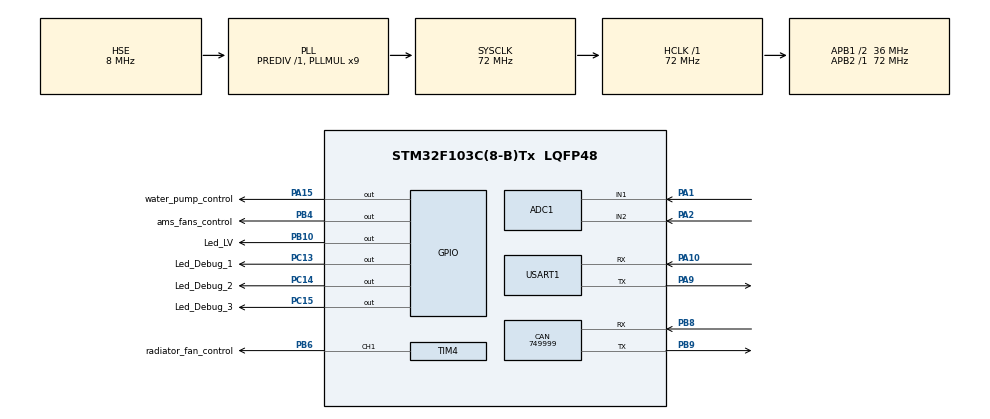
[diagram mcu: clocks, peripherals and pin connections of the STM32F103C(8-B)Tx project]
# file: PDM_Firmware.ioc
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ADC1.Channel-0\#ChannelRegularConversion=ADC_CHANNEL_1
ADC1.Channel-1\#ChannelRegularConversion=ADC_CHANNEL_2
ADC1.ContinuousConvMode=DISABLE
ADC1.NbrOfConversion=2
ADC1.NbrOfConversionFlag=1
ADC1.Rank-0\#ChannelRegularConversion=1
ADC1.Rank-1\#ChannelRegularConversion=2
ADC1.SamplingTime-0\#ChannelRegularConversion=ADC_SAMPLETIME_239CYCLES_5
ADC1.SamplingTime-1\#ChannelRegularConversion=ADC_SAMPLETIME_239CYCLES_5
ADC1.master=1
CAN.CalculateBaudRate=749999
CAN.CalculateTimeBit=1333
CAN.CalculateTimeQuantum=444.44444444444446
Dma.ADC1.0.Direction=DMA_PERIPH_TO_MEMORY
Dma.ADC1.0.Instance=DMA1_Channel1
Dma.ADC1.0.MemDataAlignment=DMA_MDATAALIGN_HALFWORD
Dma.ADC1.0.MemInc=DMA_MINC_ENABLE
Dma.ADC1.0.Mode=DMA_CIRCULAR
Dma.ADC1.0.PeriphDataAlignment=DMA_PDATAALIGN_HALFWORD
Dma.ADC1.0.PeriphInc=DMA_PINC_DISABLE
Dma.ADC1.0.Priority=DMA_PRIORITY_LOW
Dma.Request0=ADC1
Mcu.Family=STM32F1
Mcu.Name=STM32F103C(8-B)Tx
Mcu.Package=LQFP48
NVIC.ADC1_2_IRQn=true\:1\:0\:true\:false\:true\:true\:true\:true
NVIC.DMA1_Channel1_IRQn=true\:0\:0\:false\:false\:true\:false\:true\:true
NVIC.PriorityGroup=NVIC_PRIORITYGROUP_4
NVIC.TIM3_IRQn=true\:0\:0\:false\:false\:true\:true\:true\:true
PA1.Signal=ADCx_IN1
PA10.Mode=Asynchronous
PA10.Signal=USART1_RX
PA13.Mode=Serial_Wire
PA13.Signal=SYS_JTMS-SWDIO
PA14.Mode=Serial_Wire
PA14.Signal=SYS_JTCK-SWCLK
PA15.GPIO_Label=water_pump_control
PA15.Signal=GPIO_Output
PA2.Signal=ADCx_IN2
PA9.Mode=Asynchronous
PA9.Signal=USART1_TX
PB10.GPIO_Label=Led_LV
PB10.Signal=GPIO_Output
PB4.GPIO_Label=ams_fans_control
PB4.Signal=GPIO_Output
PB6.GPIO_Label=radiator_fan_control
PB6.Signal=S_TIM4_CH1
PB8.Mode=CAN_Activate
PB8.Signal=CAN_RX
PB9.Mode=CAN_Activate
PB9.Signal=CAN_TX
PC13-TAMPER-RTC.GPIO_Label=Led_Debug_1
PC13-TAMPER-RTC.Signal=GPIO_Output
PC14-OSC32_IN.GPIO_Label=Led_Debug_2
PC14-OSC32_IN.Signal=GPIO_Output
PC15-OSC32_OUT.GPIO_Label=Led_Debug_3
PC15-OSC32_OUT.Signal=GPIO_Output
PD0-OSC_IN.Mode=HSE-External-Oscillator
PD0-OSC_IN.Signal=RCC_OSC_IN
PD1-OSC_OUT.Mode=HSE-External-Oscillator
PD1-OSC_OUT.Signal=RCC_OSC_OUT
ProjectManager.HeapSize=0x200
ProjectManager.StackSize=0x400
ProjectManager.TargetToolchain=CMake
RCC.ADCPresc=RCC_ADCPCLK2_DIV6
RCC.AHBFreq_Value=72000000
RCC.APB1CLKDivider=RCC_HCLK_DIV2
RCC.APB1Freq_Value=36000000
RCC.APB1TimFreq_Value=72000000
RCC.APB2Freq_Value=72000000
RCC.APB2TimFreq_Value=72000000
RCC.HCLKFreq_Value=72000000
RCC.PLLMUL=RCC_PLL_MUL9
RCC.PLLSourceVirtual=RCC_PLLSOURCE_HSE
RCC.SYSCLKFreq_VALUE=72000000
RCC.SYSCLKSource=RCC_SYSCLKSOURCE_PLLCLK
RCC.USBFreq_Value=72000000
SH.ADCx_IN1.0=ADC1_IN1,IN1
SH.ADCx_IN2.0=ADC1_IN2,IN2
SH.S_TIM4_CH1.0=TIM4_CH1,PWM Generation1 CH1
TIM3.Period=7200
TIM3.Prescaler=1000
TIM4.Channel-PWM\ Generation1\ CH1=TIM_CHANNEL_1
TIM4.Period=100-1
TIM4.Prescaler=72-1
USART1.VirtualMode=VM_ASYNC
VP_TIM3_VS_ClockSourceINT.Mode=Internal
board=custom

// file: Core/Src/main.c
/* USER CODE BEGIN Header */
/**
  ******************************************************************************
  * @file           : main.c
  * @brief          : Main program body
  ******************************************************************************
  * @attention
  *
  * Copyright (c) 2025 STMicroelectronics.
  * All rights reserved.
  *
  * This software is licensed under terms that can be found in the LICENSE file
  * in the root directory of this software component.
  * If no LICENSE file comes with this software, it is provided AS-IS.
  *
  ******************************************************************************
  */
/* USER CODE END Header */
#include "main.h"
#include "adc.h"
#include "can.h"
#include "dma.h"
#include "tim.h"
#include "usart.h"
#include "gpio.h"

/* USER CODE BEGIN Includes */
#include <stdio.h>
#include <string.h>
/* USER CODE END Includes */

/* USER CODE BEGIN PD */

#define BUFFER_SIZE 10 // Tamanho do buffer circular

/* USER CODE END PD */

/* USER CODE BEGIN PV */
uint16_t voltage_buffer[BUFFER_SIZE] = {0}; // Buffer circular para armazenar os valores de tensão
uint8_t buffer_index = 0; // Índice do buffer circular
uint32_t voltage_sum = 0;

uint16_t adc_counter = 0;
uint8_t data_trigger = 0;
uint16_t lv_counter = 0;

uint16_t heartbeat_counter = 0;
uint8_t heartbeat_state = 0;

uint16_t current = 0;
uint16_t raw_voltage = 0;
uint16_t rawValeus [2];

/* USER CODE END PV */

void SystemClock_Config(void);
/* USER CODE BEGIN PFP */

void heartbeat(void); // Function prototype for sending the heartbeat trigger
void StartADC1(void); // Function prototype for starting the ADC
void VoltageMessure(uint16_t adc_valeu); // Function prototype for sending data over CAN bus

void PWMDutyCycleSet(uint16_t ChannelName, uint32_t dutyCycle); // Function prototype for setting the duty cycle of the PWM signal
/* USER CODE END PFP */

/* USER CODE BEGIN 0 */
void TIM3_IRQHandler(void)
{
  /* USER CODE BEGIN TIM3_IRQn 0 */

  /* USER CODE END TIM3_IRQn 0 */
  HAL_TIM_IRQHandler(&htim3);
  /* USER CODE BEGIN TIM3_IRQn 1 */
    heartbeat_counter++; // Increment the heartbeat counter
    adc_counter++; // Increment the ADC counter
    data_trigger ++; // Set the data trigger
    lv_counter ++; // Increment the LV counter

  /* USER CODE END TIM3_IRQn 1 */
}

void HAL_ADC_ConvCpltCallback(ADC_HandleTypeDef* hadc)
{
  voltage_sum -= voltage_buffer[buffer_index]; // Subtraia o valor antigo da soma
  for (uint8_t i = 0; i < hadc1.Init.NbrOfConversion; i++){
    current = rawValeus[0]; // Current value
    voltage_buffer[buffer_index] = rawValeus[1];
}
  voltage_sum += voltage_buffer[buffer_index]; // Adicione o novo valor à soma
  buffer_index = (buffer_index + 1); // Atualize o índice do buffer circular
  raw_voltage = voltage_sum / BUFFER_SIZE;   // Calcule a média dos valores no buffer circular
  if (buffer_index == BUFFER_SIZE)
  {
    buffer_index = 0;
  }

}
/* USER CODE END 0 */

int main(void)
{

  /* MCU Configuration--------------------------------------------------------*/

  /* Reset of all peripherals, Initializes the Flash interface and the Systick. */
  HAL_Init();

  /* Configure the system clock */
  SystemClock_Config();

  /* Initialize all configured peripherals */
  MX_GPIO_Init();
  MX_DMA_Init();
  MX_ADC1_Init();
  MX_CAN_Init();
  MX_USART1_UART_Init();
  MX_TIM4_Init();
  MX_TIM3_Init();
  /* USER CODE BEGIN 2 */
  HAL_ADC_Start_DMA(&hadc1, (uint32_t*)rawValeus, 2); // Start the ADC in DMA mode

     if (HAL_TIM_Base_Start_IT(&htim3) != HAL_OK)
  {
    /* Starting Error */
    Error_Handler();
  }

for (uint8_t i = 0; i < 3; i++)
{
  HAL_GPIO_WritePin(GPIOC, Led_Debug_1_Pin, GPIO_PIN_SET);
  HAL_Delay(50);
  HAL_GPIO_WritePin(GPIOC, Led_Debug_2_Pin, GPIO_PIN_SET);
  HAL_Delay(50);
  HAL_GPIO_WritePin(GPIOC, Led_Debug_3_Pin, GPIO_PIN_SET);
  HAL_Delay(50);
  HAL_GPIO_WritePin(GPIOC, Led_Debug_1_Pin, GPIO_PIN_RESET);
  HAL_Delay(50);
  HAL_GPIO_WritePin(GPIOC, Led_Debug_2_Pin, GPIO_PIN_RESET);
  HAL_Delay(50);
  HAL_GPIO_WritePin(GPIOC, Led_Debug_3_Pin, GPIO_PIN_RESET);
  HAL_Delay(50);
}
HAL_Delay(300);

  HAL_GPIO_WritePin(GPIOC, Led_Debug_1_Pin, GPIO_PIN_SET); // Turn on the LED

  /* USER CODE END 2 */

  /* Infinite loop */
  while (1)
  {

    /* USER CODE BEGIN 3 */

        StartADC1(); // Start the ADC
        VoltageMessure(raw_voltage); // Send the voltage value over CAN bus
        heartbeat(); // Send the heartbeat trigger

  }
  /* USER CODE END 3 */
}

void SystemClock_Config(void)
{
  RCC_OscInitTypeDef RCC_OscInitStruct = {0};
  RCC_ClkInitTypeDef RCC_ClkInitStruct = {0};
  RCC_PeriphCLKInitTypeDef PeriphClkInit = {0};

  /** Initializes the RCC Oscillators according to the specified parameters
  * in the RCC_OscInitTypeDef structure.
  */
  RCC_OscInitStruct.OscillatorType = RCC_OSCILLATORTYPE_HSE;
  RCC_OscInitStruct.HSEState = RCC_HSE_ON;
  RCC_OscInitStruct.HSEPredivValue = RCC_HSE_PREDIV_DIV1;
  RCC_OscInitStruct.HSIState = RCC_HSI_ON;
  RCC_OscInitStruct.PLL.PLLState = RCC_PLL_ON;
  RCC_OscInitStruct.PLL.PLLSource = RCC_PLLSOURCE_HSE;
  RCC_OscInitStruct.PLL.PLLMUL = RCC_PLL_MUL9;
  if (HAL_RCC_OscConfig(&RCC_OscInitStruct) != HAL_OK)
  {
    Error_Handler();
  }

  /** Initializes the CPU, AHB and APB buses clocks
  */
  RCC_ClkInitStruct.ClockType = RCC_CLOCKTYPE_HCLK|RCC_CLOCKTYPE_SYSCLK
                              |RCC_CLOCKTYPE_PCLK1|RCC_CLOCKTYPE_PCLK2;
  RCC_ClkInitStruct.SYSCLKSource = RCC_SYSCLKSOURCE_PLLCLK;
  RCC_ClkInitStruct.AHBCLKDivider = RCC_SYSCLK_DIV1;
  RCC_ClkInitStruct.APB1CLKDivider = RCC_HCLK_DIV2;
  RCC_ClkInitStruct.APB2CLKDivider = RCC_HCLK_DIV1;

  if (HAL_RCC_ClockConfig(&RCC_ClkInitStruct, FLASH_LATENCY_2) != HAL_OK)
  {
    Error_Handler();
  }
  PeriphClkInit.PeriphClockSelection = RCC_PERIPHCLK_ADC;
  PeriphClkInit.AdcClockSelection = RCC_ADCPCLK2_DIV6;
  if (HAL_RCCEx_PeriphCLKConfig(&PeriphClkInit) != HAL_OK)
  {
    Error_Handler();
  }
}

/* USER CODE BEGIN 4 */

void heartbeat(void){

  if (heartbeat_state<= 2 && heartbeat_counter >= 2){ // 200 ms

      HAL_GPIO_TogglePin(GPIOC, Led_Debug_1_Pin); // Toggle the LED
      heartbeat_state ++;
      heartbeat_counter = 0;

  } else{
    if (heartbeat_counter >= 9){ // 900 ms

      HAL_GPIO_TogglePin(GPIOC, Led_Debug_1_Pin); // Toggle the LED
      heartbeat_state = 0;
      heartbeat_counter = 0;

      }
    }
}

void StartADC1(void)
{
  if (adc_counter >= 1){ // 100 ms
    adc_counter = 0;
    HAL_ADC_Start_IT(&hadc1); // Start the ADC in interrupt mode
  }
}

void VoltageMessure(uint16_t raw_voltage){

    static uint16_t voltage_int = 0;
    static uint16_t voltage_frac = 0;
    static uint16_t voltage_mv = 0;
    static uint8_t lv_state = 0;
    char msg[100]; // Message buffer

    voltage_int = raw_voltage * 28.5 / 4095; // Voltage value
    voltage_frac = (raw_voltage * 28500 / 4095) % 1000; // Voltage value
    voltage_mv = raw_voltage * 28500 / 4095; // Voltage value

    if (voltage_mv >= 20000){ // 28.5 V
      lv_state = 2;
    } else if (voltage_mv >= 10000){ // 27 V
      lv_state = 1;
    } else {
      lv_state = 0;
    }

    switch (lv_state){
    case 2:
        lv_counter = 0;
        HAL_GPIO_WritePin(GPIOC, Led_Debug_2_Pin, GPIO_PIN_SET); // Turn on the LED
        break;

    case 1:
      if (lv_counter >= 7){ // 500 ms
        lv_counter = 0;
        HAL_GPIO_TogglePin(GPIOC, Led_Debug_2_Pin); // Turn on the LED
      }
      break;

    case 0:
      if (lv_counter >= 2){ // 100 ms
        lv_counter = 0;
        HAL_GPIO_TogglePin(GPIOC, Led_Debug_2_Pin); // Turn off the LED
      }
      break;

    default:
      lv_counter = 0;
      HAL_GPIO_WritePin(GPIOC, Led_Debug_2_Pin, GPIO_PIN_RESET); // Turn on the LED
      break;
    }

    if (data_trigger >= 1){ // 1000 ms
      data_trigger = 0;
      sprintf(msg, "Voltage: %d.%03d\n ",voltage_int,voltage_frac); // Print the current and voltage values
      HAL_UART_Transmit(&huart1, (uint8_t*)msg, strlen(msg), HAL_MAX_DELAY); // Transmit the message to the UART
    }

}

// Function to set the duty cycle of the PWM signal

void PWMDutyCycleSet(uint16_t ChannelName, uint32_t dutyCycle)
{
  switch (ChannelName)
  {
  case 1:     // ChannelName: 1 (radiator_fan_control_Pin)
      {
    TIM4->CCR1 = dutyCycle;
    HAL_TIM_PWM_Start(&htim4, radiator_fan_control_Pin);
    break;
      }
  default:
    break;
  }

}

/* USER CODE END 4 */

void Error_Handler(void)
{
  __disable_irq();
  while (1)
  {
  }
}
